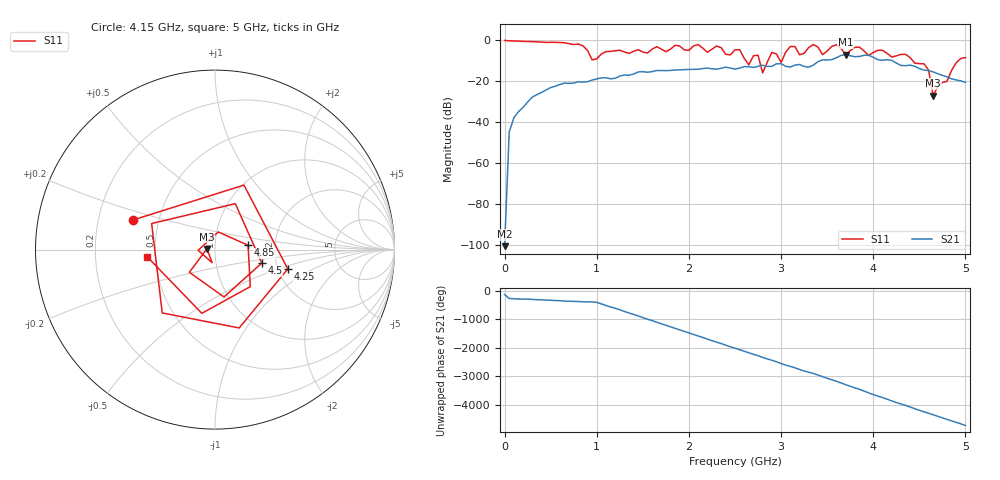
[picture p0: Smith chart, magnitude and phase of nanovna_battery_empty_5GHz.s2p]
! NanoVNA-App
! Date: 2025-01-28 11:28:16
! Start: 50kHz Stop: 5GHz Points: 101
! S-Parameter data: F S11 S21 S12 S22
# Hz S RI R 50
!  Frequency  S11_Real  S11_Imag  S21_Real  S21_Imag  S12_Real  S12_Imag  S22_Real  S22_Imag
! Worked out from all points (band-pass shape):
!   101 points, 50 kHz to 5 GHz, reference 50 ohm
!   highest |S21| = -6.88 dB at 3.7 GHz (marker M1); lowest = -100.6 dB at 50 kHz (marker M2)
!   |S21| within 3 dB of the highest: 3.428 GHz to 4.207 GHz (778.8 MHz wide, 20.4 % of centre)
!   lowest |S11| = -26.9 dB at 4.65 GHz (marker M3), VSWR 1.09, Z = 45.7 + j0.384 ohm
!   |S11| at or under -10 dB: 2.62 GHz to 2.672 GHz (51.68 MHz wide, 1.95 % of centre); 2.766 GHz to 2.857 GHz (90.44 MHz wide, 3.22 % of centre); 4.43 GHz to 4.922 GHz (491.3 MHz wide, 10.5 % of centre) (the widest 3 of 4)
!   S12 and S22 are empty: the file has one direction only
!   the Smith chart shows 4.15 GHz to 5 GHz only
!   S11 on the Smith chart (normalised r, x): 4.15 GHz: 0.35, +0.15; 4.25 GHz: 2.26, -0.59; 4.5 GHz: 1.68, -0.27; 4.85 GHz: 1.45, +0.07; 5 GHz: 0.45, -0.04
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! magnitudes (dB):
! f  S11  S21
! 50 kHz  0.0  -100.6
! 50.05 MHz  -0.2  -44.8
! 100 MHz  -0.3  -37.9
! 850 MHz  -2.6  -20.4
! 950 MHz  -9.5  -19.4
! 1.7 GHz  -4.2  -14.7
! 2.5 GHz  -4.6  -14.0
! 2.65 GHz  -11.9  -12.9
! 2.75 GHz  -7.2  -12.7
! 2.8 GHz  -15.8  -12.1
! 2.9 GHz  -5.8  -12.7
! 3 GHz  -10.7  -11.4
! 3.35 GHz  -2.0  -12.1
! 3.7 GHz  -6.9  -6.9
! 4.15 GHz  -6.2  -9.4
! 4.2 GHz  -8.1  -9.7
! 4.25 GHz  -7.5  -11.0
! 4.5 GHz  -11.3  -13.7
! 4.6 GHz  -14.4  -14.7
! 4.65 GHz  -26.9  -15.4
! 4.85 GHz  -14.6  -18.7
! 5 GHz  -8.4  -20.5
